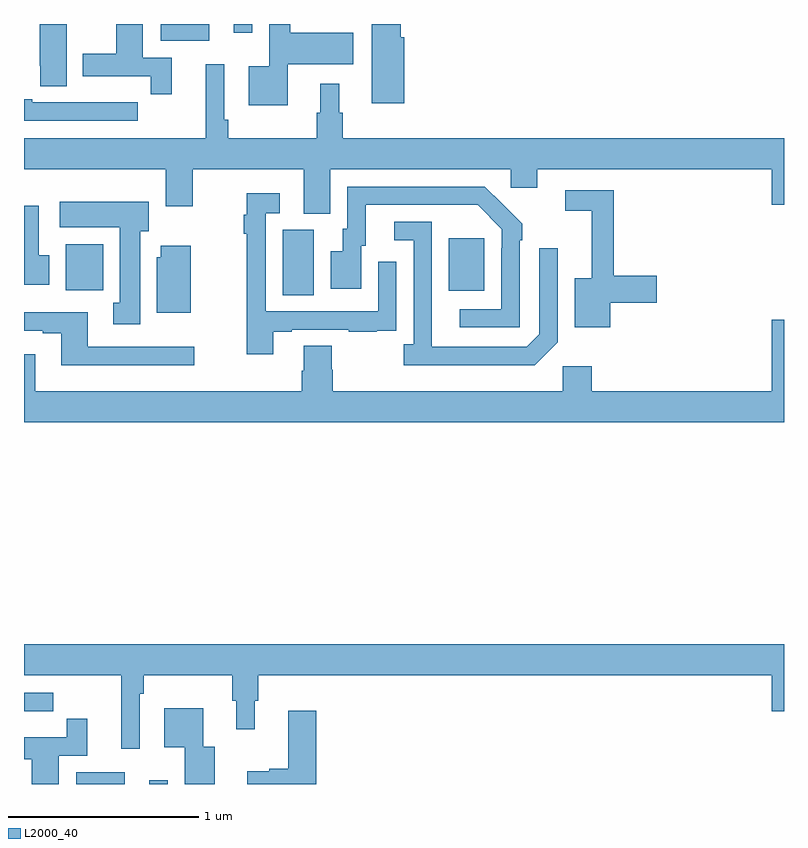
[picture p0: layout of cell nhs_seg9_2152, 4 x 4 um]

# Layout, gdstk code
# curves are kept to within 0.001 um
import gdstk
lib = gdstk.Library(unit=1e-6, precision=1e-09)
def R(c, l, rs):  # rectangles x0, y0, x1, y1
    for r in rs: c.add(gdstk.rectangle(r[:2], r[2:], *l))
def P(c, l, *ps):  # polygons
    for p in ps: c.add(gdstk.Polygon(p, *l))
L2000_40 = (2000, 40)

nhs_seg9_2152 = lib.new_cell('nhs_seg9_2152')
R(nhs_seg9_2152, L2000_40, [(233.276,1210.5,233.53,1210.561), (233.66,1210.5,233.757,1210.519), (234.362,1213.072,234.526,1213.416), (235.235,1213.097,235.423,1213.372), (233.219,1213.1,233.416,1213.342), (233.72,1214.411,233.974,1214.5), (234.104,1214.454,234.201,1214.5)])
P(nhs_seg9_2152, L2000_40, [(235.001,1214.43),(234.983,1214.43),(234.983,1214.5),(234.83,1214.5),(234.83,1214.082),(235.001,1214.082)],
  [(233.224,1214.5),(233.084,1214.5),(233.084,1214.281),(233.085,1214.281),(233.085,1214.173),(233.224,1214.173)],
  [(233.777,1214.322),(233.626,1214.322),(233.626,1214.5),(233.486,1214.5),(233.486,1214.343),(233.309,1214.343),(233.309,1214.226),(233.668,1214.226),(233.668,1214.13),(233.777,1214.13)],
  [(234.388,1214.288),(234.733,1214.288),(234.733,1214.454),(234.4,1214.454),(234.4,1214.5),(234.291,1214.5),(234.291,1214.278),(234.182,1214.278),(234.182,1214.072),(234.388,1214.072)],
  [(234.613,1213.736),(235.563,1213.736),(235.563,1213.638),(235.702,1213.638),(235.702,1213.736),(236.936,1213.736),(236.936,1213.548),(237,1213.548),(237,1213.9),(234.677,1213.9),(234.677,1214.034),(234.658,1214.034),(234.658,1214.185),(234.56,1214.185),(234.56,1214.034),(234.541,1214.034),(234.541,1213.9),(234.074,1213.9),(234.074,1213.996),(234.054,1213.996),(234.054,1214.287),(233.957,1214.287),(233.957,1213.9),(233,1213.9),(233,1213.736),(233.747,1213.736),(233.747,1213.542),(233.887,1213.542),(233.887,1213.736),(234.473,1213.736),(234.473,1213.501),(234.613,1213.501)],
  [(233.599,1214.088),(233.486,1214.088),(233.486,1214.089),(233.32,1214.089),(233.32,1214.088),(233.044,1214.088),(233.044,1214.103),(233,1214.103),(233,1213.992),(233.599,1213.992)],
  [(235.608,1213.361),(235.623,1213.361),(235.623,1213.449),(235.426,1213.644),(234.702,1213.644),(234.702,1213.422),(234.677,1213.422),(234.677,1213.303),(234.614,1213.303),(234.614,1213.107),(234.775,1213.107),(234.775,1213.332),(234.799,1213.332),(234.799,1213.548),(235.387,1213.548),(235.515,1213.419),(235.515,1213.319),(235.512,1213.319),(235.512,1212.999),(235.293,1212.999),(235.293,1212.903),(235.608,1212.903)],
  [(236.086,1213.033),(236.329,1213.033),(236.329,1213.175),(236.105,1213.175),(236.105,1213.626),(235.848,1213.626),(235.848,1213.518),(235.988,1213.518),(235.988,1213.162),(235.898,1213.162),(235.898,1212.905),(236.086,1212.905)],
  [(234.313,1212.879),(234.409,1212.879),(234.409,1212.891),(234.709,1212.891),(234.709,1212.879),(234.857,1212.879),(234.857,1212.885),(234.959,1212.885),(234.959,1212.994),(234.96,1212.994),(234.96,1213.249),(234.864,1213.249),(234.864,1212.987),(234.273,1212.987),(234.273,1213.503),(234.346,1213.503),(234.346,1213.609),(234.172,1213.609),(234.172,1213.496),(234.157,1213.496),(234.157,1213.396),(234.172,1213.396),(234.172,1212.762),(234.313,1212.762)],
  [(233.611,1213.41),(233.656,1213.41),(233.656,1213.564),(233.187,1213.564),(233.187,1213.43),(233.504,1213.43),(233.504,1213.034),(233.471,1213.034),(233.471,1212.921),(233.611,1212.921)],
  [(233.134,1213.284),(233.077,1213.284),(233.077,1213.543),(233,1213.543),(233,1213.128),(233.134,1213.128)],
  [(235.809,1212.825),(235.809,1213.321),(235.713,1213.321),(235.713,1212.867),(235.647,1212.801),(235.147,1212.801),(235.146,1213.458),(234.948,1213.458),(234.948,1213.362),(235.05,1213.362),(235.05,1212.814),(234.999,1212.814),(234.999,1212.704),(235.688,1212.704)],
  [(233.878,1213.333),(233.72,1213.333),(233.72,1213.272),(233.699,1213.272),(233.699,1212.98),(233.878,1212.98)],
  [(233.896,1212.801),(233.335,1212.801),(233.335,1212.982),(233,1212.982),(233,1212.885),(233.099,1212.885),(233.099,1212.873),(233.195,1212.873),(233.195,1212.704),(233.896,1212.704)],
  [(234.473,1212.806),(234.473,1212.674),(234.461,1212.674),(234.461,1212.568),(233.059,1212.568),(233.059,1212.763),(233,1212.763),(233,1212.404),(237,1212.404),(237,1212.943),(236.936,1212.943),(236.936,1212.568),(235.988,1212.568),(235.988,1212.7),(235.836,1212.7),(235.836,1212.568),(234.626,1212.568),(234.626,1212.681),(234.621,1212.681),(234.621,1212.806)],
  [(233.61,1210.976),(233.63,1210.976),(233.63,1211.072),(234.097,1211.072),(234.097,1210.938),(234.116,1210.938),(234.116,1210.788),(234.214,1210.788),(234.214,1210.938),(234.233,1210.938),(234.233,1211.072),(236.936,1211.072),(236.936,1210.884),(237,1210.884),(237,1211.236),(233,1211.236),(233,1211.072),(233.513,1211.072),(233.513,1210.686),(233.61,1210.686)],
  [(233.042,1210.884),(233.155,1210.884),(233.155,1210.98),(233,1210.98),(233,1210.883),(233.042,1210.883)],
  [(234.004,1210.696),(233.944,1210.696),(233.944,1210.9),(233.738,1210.9),(233.738,1210.694),(233.846,1210.694),(233.846,1210.5),(234.004,1210.5)],
  [(234.539,1210.885),(234.392,1210.885),(234.392,1210.58),(234.291,1210.58),(234.291,1210.567),(234.174,1210.567),(234.174,1210.5),(234.539,1210.5)],
  [(233.182,1210.65),(233.333,1210.65),(233.333,1210.843),(233.224,1210.843),(233.224,1210.746),(233,1210.746),(233,1210.63),(233.042,1210.63),(233.042,1210.5),(233.182,1210.5)])

lib.write_gds('nhs_seg9_2152.gds')
